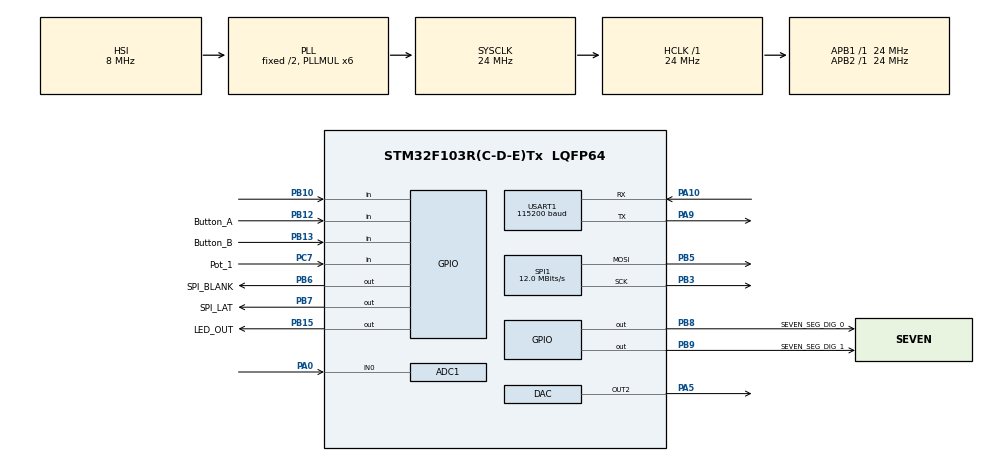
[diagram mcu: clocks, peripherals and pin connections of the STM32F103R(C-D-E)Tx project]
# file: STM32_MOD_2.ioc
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ADC1.Channel-0\#ChannelRegularConversion=ADC_CHANNEL_0
ADC1.ContinuousConvMode=DISABLE
ADC1.EnableAnalogWatchDog=false
ADC1.ExternalTrigConv=ADC_EXTERNALTRIGCONV_T8_TRGO
ADC1.NbrOfConversion=1
ADC1.NbrOfConversionFlag=1
ADC1.Rank-0\#ChannelRegularConversion=1
ADC1.SamplingTime-0\#ChannelRegularConversion=ADC_SAMPLETIME_1CYCLE_5
ADC1.master=1
DAC.DAC_Trigger2=DAC_TRIGGER_T8_TRGO
Dma.ADC1.1.Direction=DMA_PERIPH_TO_MEMORY
Dma.ADC1.1.Instance=DMA1_Channel1
Dma.ADC1.1.MemDataAlignment=DMA_MDATAALIGN_HALFWORD
Dma.ADC1.1.MemInc=DMA_MINC_ENABLE
Dma.ADC1.1.Mode=DMA_CIRCULAR
Dma.ADC1.1.PeriphDataAlignment=DMA_PDATAALIGN_HALFWORD
Dma.ADC1.1.PeriphInc=DMA_PINC_DISABLE
Dma.ADC1.1.Priority=DMA_PRIORITY_MEDIUM
Dma.DAC_CH2.0.Direction=DMA_MEMORY_TO_PERIPH
Dma.DAC_CH2.0.Instance=DMA2_Channel4
Dma.DAC_CH2.0.MemDataAlignment=DMA_MDATAALIGN_HALFWORD
Dma.DAC_CH2.0.MemInc=DMA_MINC_ENABLE
Dma.DAC_CH2.0.Mode=DMA_CIRCULAR
Dma.DAC_CH2.0.PeriphDataAlignment=DMA_PDATAALIGN_HALFWORD
Dma.DAC_CH2.0.PeriphInc=DMA_PINC_DISABLE
Dma.DAC_CH2.0.Priority=DMA_PRIORITY_HIGH
Dma.Request0=DAC_CH2
Dma.Request1=ADC1
Mcu.Family=STM32F1
Mcu.Name=STM32F103R(C-D-E)Tx
Mcu.Package=LQFP64
NVIC.DMA1_Channel1_IRQn=true\:0\:0\:false\:false\:true\:false\:true\:true
NVIC.DMA2_Channel4_5_IRQn=true\:0\:0\:false\:false\:true\:false\:true\:true
NVIC.PriorityGroup=NVIC_PRIORITYGROUP_4
NVIC.TIM2_IRQn=true\:0\:0\:false\:false\:true\:true\:true\:true
PA0-WKUP.Signal=ADCx_IN0
PA10.Mode=Asynchronous
PA10.Signal=USART1_RX
PA13.Mode=Serial_Wire
PA13.Signal=SYS_JTMS-SWDIO
PA14.Mode=Serial_Wire
PA14.Signal=SYS_JTCK-SWCLK
PA5.Signal=COMP_DAC2_group
PA9.Mode=Asynchronous
PA9.Signal=USART1_TX
PB10.Signal=GPIO_Input
PB12.GPIO_Label=Button_A
PB12.Signal=GPIO_Input
PB13.GPIO_Label=Button_B
PB13.Signal=GPIO_Input
PB15.GPIO_Label=LED_OUT
PB15.GPIO_ModeDefaultOutputPP=GPIO_MODE_OUTPUT_PP
PB15.GPIO_PuPd=GPIO_PULLDOWN
PB15.PinState=GPIO_PIN_RESET
PB15.Signal=GPIO_Output
PB3.Mode=TX_Only_Simplex_Unidirect_Master
PB3.Signal=SPI1_SCK
PB5.Mode=TX_Only_Simplex_Unidirect_Master
PB5.Signal=SPI1_MOSI
PB6.GPIO_Label=SPI_BLANK
PB6.Signal=GPIO_Output
PB7.GPIO_Label=SPI_LAT
PB7.GPIO_Speed=GPIO_SPEED_FREQ_HIGH
PB7.PinState=GPIO_PIN_SET
PB7.Signal=GPIO_Output
PB8.GPIO_Label=SEVEN_SEG_DIG_0
PB8.GPIO_Speed=GPIO_SPEED_FREQ_MEDIUM
PB8.PinState=GPIO_PIN_SET
PB8.Signal=GPIO_Output
PB9.GPIO_Label=SEVEN_SEG_DIG_1
PB9.GPIO_Speed=GPIO_SPEED_FREQ_MEDIUM
PB9.PinState=GPIO_PIN_SET
PB9.Signal=GPIO_Output
PC14-OSC32_IN.Mode=LSE-External-Oscillator
PC14-OSC32_IN.Signal=RCC_OSC32_IN
PC15-OSC32_OUT.Mode=LSE-External-Oscillator
PC15-OSC32_OUT.Signal=RCC_OSC32_OUT
PC7.GPIO_Label=Pot_1
PC7.Signal=GPIO_Input
PD0-OSC_IN.Mode=HSE-External-Oscillator
PD0-OSC_IN.Signal=RCC_OSC_IN
PD1-OSC_OUT.Mode=HSE-External-Oscillator
PD1-OSC_OUT.Signal=RCC_OSC_OUT
ProjectManager.HeapSize=0x200
ProjectManager.StackSize=0x400
ProjectManager.TargetToolchain=STM32CubeIDE
RCC.AHBFreq_Value=24000000
RCC.APB1Freq_Value=24000000
RCC.APB1TimFreq_Value=24000000
RCC.APB2Freq_Value=24000000
RCC.APB2TimFreq_Value=24000000
RCC.HCLKFreq_Value=24000000
RCC.HSEDivPLL=RCC_HSE_PREDIV_DIV2
RCC.PLLMUL=RCC_PLL_MUL6
RCC.SYSCLKFreq_VALUE=24000000
RCC.SYSCLKSource=RCC_SYSCLKSOURCE_PLLCLK
RCC.USBFreq_Value=24000000
SH.ADCx_IN0.0=ADC1_IN0,IN0
SH.COMP_DAC2_group.0=DAC_OUT2,DAC_OUT2
SPI1.BaudRatePrescaler=SPI_BAUDRATEPRESCALER_2
SPI1.CLKPolarity=SPI_POLARITY_LOW
SPI1.CalculateBaudRate=12.0 MBits/s
SPI1.DataSize=SPI_DATASIZE_16BIT
SPI1.Direction=SPI_DIRECTION_2LINES
SPI1.Mode=SPI_MODE_MASTER
SPI1.VirtualType=VM_MASTER
TIM2.Period=361
TIM2.Prescaler=12
TIM6.Period=124
TIM6.Prescaler=3
TIM6.TIM_MasterOutputTrigger=TIM_TRGO_UPDATE
TIM8.Period=124
TIM8.Prescaler=3
TIM8.TIM_MasterOutputTrigger=TIM_TRGO_UPDATE
USART1.BaudRate=115200
USART1.Mode=MODE_TX_RX
USART1.VirtualMode=VM_ASYNC
VP_TIM2_VS_ClockSourceINT.Mode=Internal
VP_TIM6_VS_ClockSourceINT.Mode=Enable_Timer
VP_TIM8_VS_ClockSourceINT.Mode=Internal
board=custom

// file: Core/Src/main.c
/* USER CODE BEGIN Header */
/**
  ******************************************************************************
  * @file           : main.c
  * @brief          : Main program body
  ******************************************************************************
  * @attention
  *
  * Copyright (c) 2025 STMicroelectronics.
  * All rights reserved.
  *
  * This software is licensed under terms that can be found in the LICENSE file
  * in the root directory of this software component.
  * If no LICENSE file comes with this software, it is provided AS-IS.
  *
  ******************************************************************************
  */
/* USER CODE END Header */
#include "main.h"

/* USER CODE BEGIN Includes */
#include <math.h>
#include "stm32_synth.h"
#include "seven_seg.h"
#include "oscillator.h"
#include "sampler.h"

/* USER CODE END Includes */

/* USER CODE BEGIN PD */
// Single-output test mode selector: switch between SYNTH and EFFECTS.
#define ACTIVE_AUDIO_MODE EFFECTS
#define ACTIVE_EFFECT_MODE EFFECT_MOVING_AVG
#define ACTIVE_MOVING_AVG_TAPS 1

/* USER CODE END PD */

ADC_HandleTypeDef hadc1;
DMA_HandleTypeDef hdma_adc1;

DAC_HandleTypeDef hdac;
DMA_HandleTypeDef hdma_dac_ch2;

SPI_HandleTypeDef hspi1;

TIM_HandleTypeDef htim2;
TIM_HandleTypeDef htim6;
TIM_HandleTypeDef htim8;

UART_HandleTypeDef huart1;

void SystemClock_Config(void);
static void MX_GPIO_Init(void);
static void MX_DMA_Init(void);
static void MX_ADC1_Init(void);
static void MX_DAC_Init(void);
static void MX_SPI1_Init(void);
static void MX_USART1_UART_Init(void);
static void MX_TIM2_Init(void);
static void MX_TIM6_Init(void);
static void MX_TIM8_Init(void);

/* USER CODE BEGIN 0 */
volatile struct synth my_synth __attribute__((used));
struct Seven_Seg my_seven_seg;
//struct Sample sample1;

/*
static void uart_tx(const char *s)
{
  HAL_UART_Transmit(&huart1, (uint8_t*)s, strlen(s), HAL_MAX_DELAY);
}
*/

/* USER CODE END 0 */

int main(void)
{

  /* MCU Configuration--------------------------------------------------------*/

  /* Reset of all peripherals, Initializes the Flash interface and the Systick. */
  HAL_Init();

  /* Configure the system clock */
  SystemClock_Config();

  /* Initialize all configured peripherals */
  MX_GPIO_Init();
  MX_DMA_Init();
  MX_ADC1_Init();
  MX_DAC_Init();
  MX_SPI1_Init();
  MX_USART1_UART_Init();
  MX_TIM2_Init();
  MX_TIM6_Init();
  MX_TIM8_Init();
  /* USER CODE BEGIN 2 */

  // define the info for seven segment display
  HAL_TIM_Base_Start_IT(&htim2);
  seven_seg_init(&my_seven_seg);

  // Initialize the stm32 module
  init_stm32(&my_synth, ACTIVE_AUDIO_MODE, &htim8, &hdac, SQUARE, &htim8, &hadc1);
  set_effect_mode(&my_synth, ACTIVE_EFFECT_MODE);
  set_moving_avg_taps(&my_synth, ACTIVE_MOVING_AVG_TAPS);

  uint8_t buf[16];
  uint8_t idx  = 0;
  uint8_t ch;

  uint8_t value = 0x01;
  seven_seg_set_value(&my_seven_seg, value);

  int16_t increment = 1000;
  my_synth.osc.f_out = 1200;

  // TEST: check freq accuracy
  my_synth.osc.f_out = 1200;
  set_oscillator_freq(&my_synth.osc, my_synth.osc.f_out);
  HAL_Delay(400);

  /* USER CODE END 2 */

  /* Infinite loop */
  while (1)
  {

    /* USER CODE BEGIN 3 */

	  // TEST: increment the seven segments display
	  /*
	  value += 0x01;
	  seven_seg_set_value(&my_seven_seg, value);
	  HAL_Delay(1000);
	  */

	  // TEST: testing out freq adjustment
	  /*
	  set_oscillator_freq(&my_tone, my_tone.f_out);
	  my_tone.f_out += increment;
	  if (my_tone.f_out > 22000 | my_tone.f_out < 1000){
		  increment = increment * -1;
	  }
	  HAL_Delay(10000);
		//*/

	  //*/

	  // TEST: play marry had a little lamb (SYNTH mode only)
	  if (my_synth.synth_mode == SYNTH) {
		  marry_had_a_little_lamb(&my_synth);
	  }
	  //*/

	  /*
	  //UART
	  uart_tx("\r\nEnter a number: ");

	  while(1) {
		  HAL_UART_Receive(&huart1, &ch, 1, HAL_MAX_DELAY);

		  HAL_UART_Transmit(&huart1, &ch, 1, HAL_MAX_DELAY);

		  // add to buffer
		  buf[idx] = ch;

		  if (ch == '\r' || ch == '\n')
		  {
			buf[idx] = '\0';
			break;
		  }

		  // increment
		  idx += 1;
	  }
		*/

	  //LED
	  //HAL_GPIO_TogglePin (LED_OUT_GPIO_Port, LED_OUT_Pin);

	  /* turning on the digits / off the digits */
	  //HAL_GPIO_TogglePin (SEVEN_SEG_DIG_1_GPIO_Port, SEVEN_SEG_DIG_1_Pin);
	  //HAL_GPIO_TogglePin (SEVEN_SEG_DIG_0_GPIO_Port, SEVEN_SEG_DIG_0_Pin);

	  // use our class to
	  //seven_seg_set_value(&my_seven_seg, ((buf[0] << 4) & 0xF0)+ buf[1]);
//	  char transmit_buf[5] = {'\n', 'h', 'e', 'l', 'l', 'o'};
//	  HAL_UART_Transmit(&huart1, &transmit_buf, sizeof(transmit_buf), HAL_MAX_DELAY);

	  /*
	  if (buf[1] == '\0'){
		  seven_seg_set_value(&my_seven_seg, buf[0] & 0xF);

	  } else if (buf[2] == '\0') {
		  seven_seg_set_value(&my_seven_seg, ((buf[0] << 4) & 0xF0) + (buf[1] & 0xF));
	  }
	  */
  }
  /* USER CODE END 3 */
}

void SystemClock_Config(void)
{
  RCC_OscInitTypeDef RCC_OscInitStruct = {0};
  RCC_ClkInitTypeDef RCC_ClkInitStruct = {0};
  RCC_PeriphCLKInitTypeDef PeriphClkInit = {0};

  /** Initializes the RCC Oscillators according to the specified parameters
  * in the RCC_OscInitTypeDef structure.
  */
  RCC_OscInitStruct.OscillatorType = RCC_OSCILLATORTYPE_HSI;
  RCC_OscInitStruct.HSIState = RCC_HSI_ON;
  RCC_OscInitStruct.HSICalibrationValue = RCC_HSICALIBRATION_DEFAULT;
  RCC_OscInitStruct.PLL.PLLState = RCC_PLL_ON;
  RCC_OscInitStruct.PLL.PLLSource = RCC_PLLSOURCE_HSI_DIV2;
  RCC_OscInitStruct.PLL.PLLMUL = RCC_PLL_MUL6;
  if (HAL_RCC_OscConfig(&RCC_OscInitStruct) != HAL_OK)
  {
    Error_Handler();
  }

  /** Initializes the CPU, AHB and APB buses clocks
  */
  RCC_ClkInitStruct.ClockType = RCC_CLOCKTYPE_HCLK|RCC_CLOCKTYPE_SYSCLK
                              |RCC_CLOCKTYPE_PCLK1|RCC_CLOCKTYPE_PCLK2;
  RCC_ClkInitStruct.SYSCLKSource = RCC_SYSCLKSOURCE_PLLCLK;
  RCC_ClkInitStruct.AHBCLKDivider = RCC_SYSCLK_DIV1;
  RCC_ClkInitStruct.APB1CLKDivider = RCC_HCLK_DIV1;
  RCC_ClkInitStruct.APB2CLKDivider = RCC_HCLK_DIV1;

  if (HAL_RCC_ClockConfig(&RCC_ClkInitStruct, FLASH_LATENCY_0) != HAL_OK)
  {
    Error_Handler();
  }
  PeriphClkInit.PeriphClockSelection = RCC_PERIPHCLK_ADC;
  PeriphClkInit.AdcClockSelection = RCC_ADCPCLK2_DIV2;
  if (HAL_RCCEx_PeriphCLKConfig(&PeriphClkInit) != HAL_OK)
  {
    Error_Handler();
  }
}

static void MX_ADC1_Init(void)
{

  ADC_ChannelConfTypeDef sConfig = {0};

  /** Common config
  */
  hadc1.Instance = ADC1;
  hadc1.Init.ScanConvMode = ADC_SCAN_DISABLE;
  hadc1.Init.ContinuousConvMode = DISABLE;
  hadc1.Init.DiscontinuousConvMode = DISABLE;
  hadc1.Init.ExternalTrigConv = ADC_EXTERNALTRIGCONV_T8_TRGO;
  hadc1.Init.DataAlign = ADC_DATAALIGN_RIGHT;
  hadc1.Init.NbrOfConversion = 1;
  if (HAL_ADC_Init(&hadc1) != HAL_OK)
  {
    Error_Handler();
  }

  /** Enable or disable the remapping of ADC1_ETRGREG:
  * ADC1 External Event regular conversion is connected to TIM8 TRG0
  */
  __HAL_AFIO_REMAP_ADC1_ETRGREG_ENABLE();

  /** Configure Regular Channel
  */
  sConfig.Channel = ADC_CHANNEL_0;
  sConfig.Rank = ADC_REGULAR_RANK_1;
  sConfig.SamplingTime = ADC_SAMPLETIME_1CYCLE_5;
  if (HAL_ADC_ConfigChannel(&hadc1, &sConfig) != HAL_OK)
  {
    Error_Handler();
  }

}

static void MX_DAC_Init(void)
{

  DAC_ChannelConfTypeDef sConfig = {0};

  /** DAC Initialization
  */
  hdac.Instance = DAC;
  if (HAL_DAC_Init(&hdac) != HAL_OK)
  {
    Error_Handler();
  }

  /** DAC channel OUT2 config
  */
  sConfig.DAC_Trigger = DAC_TRIGGER_T8_TRGO;
  sConfig.DAC_OutputBuffer = DAC_OUTPUTBUFFER_ENABLE;
  if (HAL_DAC_ConfigChannel(&hdac, &sConfig, DAC_CHANNEL_2) != HAL_OK)
  {
    Error_Handler();
  }

}

static void MX_SPI1_Init(void)
{

  /* SPI1 parameter configuration*/
  hspi1.Instance = SPI1;
  hspi1.Init.Mode = SPI_MODE_MASTER;
  hspi1.Init.Direction = SPI_DIRECTION_2LINES;
  hspi1.Init.DataSize = SPI_DATASIZE_16BIT;
  hspi1.Init.CLKPolarity = SPI_POLARITY_LOW;
  hspi1.Init.CLKPhase = SPI_PHASE_1EDGE;
  hspi1.Init.NSS = SPI_NSS_SOFT;
  hspi1.Init.BaudRatePrescaler = SPI_BAUDRATEPRESCALER_2;
  hspi1.Init.FirstBit = SPI_FIRSTBIT_MSB;
  hspi1.Init.TIMode = SPI_TIMODE_DISABLE;
  hspi1.Init.CRCCalculation = SPI_CRCCALCULATION_DISABLE;
  hspi1.Init.CRCPolynomial = 10;
  if (HAL_SPI_Init(&hspi1) != HAL_OK)
  {
    Error_Handler();
  }

}

static void MX_TIM2_Init(void)
{

  TIM_ClockConfigTypeDef sClockSourceConfig = {0};
  TIM_MasterConfigTypeDef sMasterConfig = {0};

  htim2.Instance = TIM2;
  htim2.Init.Prescaler = 12;
  htim2.Init.CounterMode = TIM_COUNTERMODE_UP;
  htim2.Init.Period = 361;
  htim2.Init.ClockDivision = TIM_CLOCKDIVISION_DIV1;
  htim2.Init.AutoReloadPreload = TIM_AUTORELOAD_PRELOAD_DISABLE;
  if (HAL_TIM_Base_Init(&htim2) != HAL_OK)
  {
    Error_Handler();
  }
  sClockSourceConfig.ClockSource = TIM_CLOCKSOURCE_INTERNAL;
  if (HAL_TIM_ConfigClockSource(&htim2, &sClockSourceConfig) != HAL_OK)
  {
    Error_Handler();
  }
  sMasterConfig.MasterOutputTrigger = TIM_TRGO_RESET;
  sMasterConfig.MasterSlaveMode = TIM_MASTERSLAVEMODE_DISABLE;
  if (HAL_TIMEx_MasterConfigSynchronization(&htim2, &sMasterConfig) != HAL_OK)
  {
    Error_Handler();
  }

}

static void MX_TIM6_Init(void)
{

  TIM_MasterConfigTypeDef sMasterConfig = {0};

  htim6.Instance = TIM6;
  htim6.Init.Prescaler = 3;
  htim6.Init.CounterMode = TIM_COUNTERMODE_UP;
  htim6.Init.Period = 124;
  htim6.Init.AutoReloadPreload = TIM_AUTORELOAD_PRELOAD_DISABLE;
  if (HAL_TIM_Base_Init(&htim6) != HAL_OK)
  {
    Error_Handler();
  }
  sMasterConfig.MasterOutputTrigger = TIM_TRGO_UPDATE;
  sMasterConfig.MasterSlaveMode = TIM_MASTERSLAVEMODE_DISABLE;
  if (HAL_TIMEx_MasterConfigSynchronization(&htim6, &sMasterConfig) != HAL_OK)
  {
    Error_Handler();
  }

}

static void MX_TIM8_Init(void)
{

  TIM_ClockConfigTypeDef sClockSourceConfig = {0};
  TIM_MasterConfigTypeDef sMasterConfig = {0};

  htim8.Instance = TIM8;
  htim8.Init.Prescaler = 3;
  htim8.Init.CounterMode = TIM_COUNTERMODE_UP;
  htim8.Init.Period = 124;
  htim8.Init.ClockDivision = TIM_CLOCKDIVISION_DIV1;
  htim8.Init.RepetitionCounter = 0;
  htim8.Init.AutoReloadPreload = TIM_AUTORELOAD_PRELOAD_DISABLE;
  if (HAL_TIM_Base_Init(&htim8) != HAL_OK)
  {
    Error_Handler();
  }
  sClockSourceConfig.ClockSource = TIM_CLOCKSOURCE_INTERNAL;
  if (HAL_TIM_ConfigClockSource(&htim8, &sClockSourceConfig) != HAL_OK)
  {
    Error_Handler();
  }
  sMasterConfig.MasterOutputTrigger = TIM_TRGO_UPDATE;
  sMasterConfig.MasterSlaveMode = TIM_MASTERSLAVEMODE_DISABLE;
  if (HAL_TIMEx_MasterConfigSynchronization(&htim8, &sMasterConfig) != HAL_OK)
  {
    Error_Handler();
  }

}

static void MX_USART1_UART_Init(void)
{

  huart1.Instance = USART1;
  huart1.Init.BaudRate = 115200;
  huart1.Init.WordLength = UART_WORDLENGTH_8B;
  huart1.Init.StopBits = UART_STOPBITS_1;
  huart1.Init.Parity = UART_PARITY_NONE;
  huart1.Init.Mode = UART_MODE_TX_RX;
  huart1.Init.HwFlowCtl = UART_HWCONTROL_NONE;
  huart1.Init.OverSampling = UART_OVERSAMPLING_16;
  if (HAL_UART_Init(&huart1) != HAL_OK)
  {
    Error_Handler();
  }

}

static void MX_DMA_Init(void)
{

  /* DMA controller clock enable */
  __HAL_RCC_DMA2_CLK_ENABLE();
  __HAL_RCC_DMA1_CLK_ENABLE();

  /* DMA interrupt init */
  /* DMA1_Channel1_IRQn interrupt configuration */
  HAL_NVIC_SetPriority(DMA1_Channel1_IRQn, 0, 0);
  HAL_NVIC_EnableIRQ(DMA1_Channel1_IRQn);
  /* DMA2_Channel4_5_IRQn interrupt configuration */
  HAL_NVIC_SetPriority(DMA2_Channel4_5_IRQn, 0, 0);
  HAL_NVIC_EnableIRQ(DMA2_Channel4_5_IRQn);

}

static void MX_GPIO_Init(void)
{
  GPIO_InitTypeDef GPIO_InitStruct = {0};

  /* GPIO Ports Clock Enable */
  __HAL_RCC_GPIOC_CLK_ENABLE();
  __HAL_RCC_GPIOD_CLK_ENABLE();
  __HAL_RCC_GPIOA_CLK_ENABLE();
  __HAL_RCC_GPIOB_CLK_ENABLE();

  /*Configure GPIO pin Output Level */
  HAL_GPIO_WritePin(GPIOB, LED_OUT_Pin|SPI_BLANK_Pin, GPIO_PIN_RESET);

  /*Configure GPIO pin Output Level */
  HAL_GPIO_WritePin(GPIOB, SPI_LAT_Pin|SEVEN_SEG_DIG_0_Pin|SEVEN_SEG_DIG_1_Pin, GPIO_PIN_SET);

  /*Configure GPIO pins : PB10 Button_A_Pin Button_B_Pin */
  GPIO_InitStruct.Pin = GPIO_PIN_10|Button_A_Pin|Button_B_Pin;
  GPIO_InitStruct.Mode = GPIO_MODE_INPUT;
  GPIO_InitStruct.Pull = GPIO_NOPULL;
  HAL_GPIO_Init(GPIOB, &GPIO_InitStruct);

  /*Configure GPIO pin : LED_OUT_Pin */
  GPIO_InitStruct.Pin = LED_OUT_Pin;
  GPIO_InitStruct.Mode = GPIO_MODE_OUTPUT_PP;
  GPIO_InitStruct.Pull = GPIO_PULLDOWN;
  GPIO_InitStruct.Speed = GPIO_SPEED_FREQ_LOW;
  HAL_GPIO_Init(LED_OUT_GPIO_Port, &GPIO_InitStruct);

  /*Configure GPIO pin : Pot_1_Pin */
  GPIO_InitStruct.Pin = Pot_1_Pin;
  GPIO_InitStruct.Mode = GPIO_MODE_INPUT;
  GPIO_InitStruct.Pull = GPIO_NOPULL;
  HAL_GPIO_Init(Pot_1_GPIO_Port, &GPIO_InitStruct);

  /*Configure GPIO pin : SPI_BLANK_Pin */
  GPIO_InitStruct.Pin = SPI_BLANK_Pin;
  GPIO_InitStruct.Mode = GPIO_MODE_OUTPUT_PP;
  GPIO_InitStruct.Pull = GPIO_NOPULL;
  GPIO_InitStruct.Speed = GPIO_SPEED_FREQ_LOW;
  HAL_GPIO_Init(SPI_BLANK_GPIO_Port, &GPIO_InitStruct);

  /*Configure GPIO pin : SPI_LAT_Pin */
  GPIO_InitStruct.Pin = SPI_LAT_Pin;
  GPIO_InitStruct.Mode = GPIO_MODE_OUTPUT_PP;
  GPIO_InitStruct.Pull = GPIO_NOPULL;
  GPIO_InitStruct.Speed = GPIO_SPEED_FREQ_HIGH;
  HAL_GPIO_Init(SPI_LAT_GPIO_Port, &GPIO_InitStruct);

  /*Configure GPIO pins : SEVEN_SEG_DIG_0_Pin SEVEN_SEG_DIG_1_Pin */
  GPIO_InitStruct.Pin = SEVEN_SEG_DIG_0_Pin|SEVEN_SEG_DIG_1_Pin;
  GPIO_InitStruct.Mode = GPIO_MODE_OUTPUT_PP;
  GPIO_InitStruct.Pull = GPIO_NOPULL;
  GPIO_InitStruct.Speed = GPIO_SPEED_FREQ_MEDIUM;
  HAL_GPIO_Init(GPIOB, &GPIO_InitStruct);

}

/* USER CODE BEGIN 4 */

void HAL_TIM_PeriodElapsedCallback(TIM_HandleTypeDef *htim){
	// check which timer brought us here

	// did the seven segment display timer get us here?
	if (htim->Instance == TIM2){
		seven_seg_update(&my_seven_seg);
	}
}

// We are half way through our memory, have to generate
void HAL_DACEx_ConvHalfCpltCallbackCh2(DAC_HandleTypeDef *hdac)
{
	if (my_synth.synth_mode == SYNTH) {
		render_audio_block(&my_synth, 0);
	} else if (my_synth.synth_mode == EFFECTS) {
		// For effects mode, wait for ADC half-buffer readiness.
		if (!my_synth.adc_half_ready[0]) {
			my_synth.adc_underruns[0]++;
		} else {
			render_audio_block(&my_synth, 0);
		}

		// set the ADC buffer ready flag back to 0
		my_synth.adc_half_ready[0] = 0;
	}
}

void HAL_DACEx_ConvCpltCallbackCh2(DAC_HandleTypeDef *hdac)
{
	if (my_synth.synth_mode == SYNTH) {
		render_audio_block(&my_synth, 1);
	} else if (my_synth.synth_mode == EFFECTS) {
		// For effects mode, wait for ADC half-buffer readiness.
		if (!my_synth.adc_half_ready[1]) {
			my_synth.adc_underruns[1]++;
		} else {
			render_audio_block(&my_synth, 1);
		}

		// set the ADC buffer ready flag back to 0
		my_synth.adc_half_ready[1] = 0;
	}
}

// ADC interrupt when its at middle of filling buffer
void HAL_ADC_ConvHalfCpltCallback(ADC_HandleTypeDef *hadc)
{
	if (my_synth.adc_half_ready[0]){
		my_synth.adc_overruns[0]++;
	}
	buffer_adc_input(&my_synth, 0);

	my_synth.adc_half_ready[0] = 1;

}

// ADC interrupt when its at end of filling buffer
void HAL_ADC_ConvCpltCallback(ADC_HandleTypeDef *hadc)
{
	if (my_synth.adc_half_ready[1]){
		my_synth.adc_overruns[1]++;
	}

	buffer_adc_input(&my_synth, 1);

	my_synth.adc_half_ready[1] = 1;

}

/* USER CODE END 4 */

void Error_Handler(void)
{
  __disable_irq();
  while (1)
  {
  }
}
